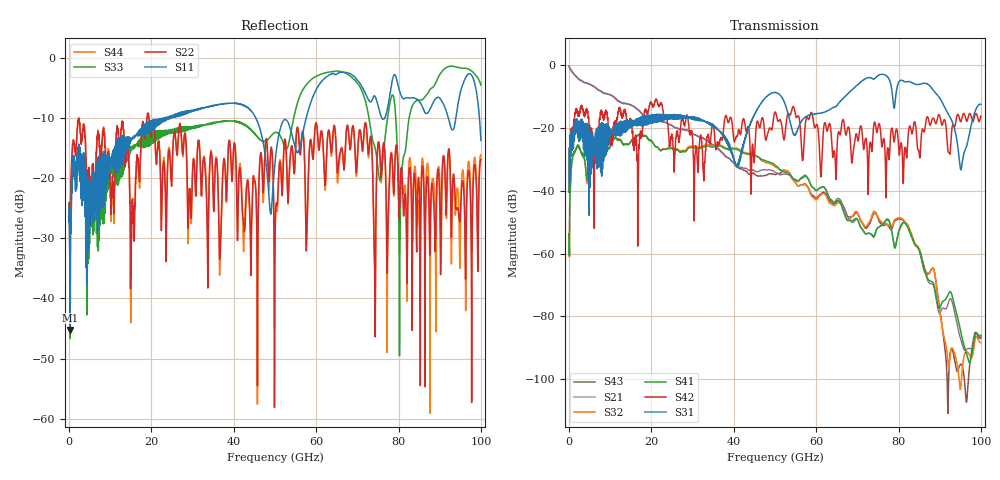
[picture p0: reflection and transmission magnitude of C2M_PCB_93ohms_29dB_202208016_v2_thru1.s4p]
! Info: Touchstone file created by Circ.  Input file=Intel_C2M_200G_13p0in_202208016_staggered.circ
# Hz S RI R 50
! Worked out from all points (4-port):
!   10000 points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, 10 MHz to 100 GHz, reference 50 ohm
!   strongest paths, dB at 10 MHz, 25.01 GHz, 50.01 GHz, 75.01 GHz, 100 GHz:
!     S31: -40.4, -16.8, -8.7, -3.4, -12.5
!     S42: -40.4, -23.3, -15.0, -19.7, -16.3
!     S41: -54.7, -26.7, -31.9, -51.7, -86.0
!     S32: -54.7, -26.4, -32.4, -48.4, -88.3
!     S21: -0.4, -19.3, -34.1, -51.8, -86.5
!     S43: -0.4, -19.2, -34.9, -48.8, -86.7
!   lowest |S11| = -45.2 dB at 270 MHz (marker M1), VSWR 1.01, Z = 50.3 - j0.461 ohm
!   |S11| at or under -10 dB: start of sweep to 23.12 GHz; 45.28 GHz to 57.6 GHz (12.31 GHz wide, 23.9 % of centre); 92.07 GHz to 93.94 GHz (1.869 GHz wide, 2.01 % of centre)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
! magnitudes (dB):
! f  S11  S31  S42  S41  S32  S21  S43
! 10 MHz  -27.4  -40.4  -40.4  -54.7  -54.7  -0.4  -0.4
! 270 MHz  -45.2  -23.1  -22.4  -40.0  -39.9  -1.3  -1.2
! 40.79 GHz  -7.6  -32.4  -22.8  -26.8  -26.5  -32.2  -32.5
! 49.53 GHz  -21.6  -8.8  -18.2  -31.3  -31.8  -33.6  -34.6
! 86.83 GHz  -9.3  -5.9  -16.8  -67.1  -66.0  -67.6  -66.6
! 95.18 GHz  -5.4  -33.2  -18.0  -85.3  -101.7  -87.5  -95.2
! 100 GHz  -13.8  -12.5  -16.3  -86.0  -88.3  -86.5  -86.7
